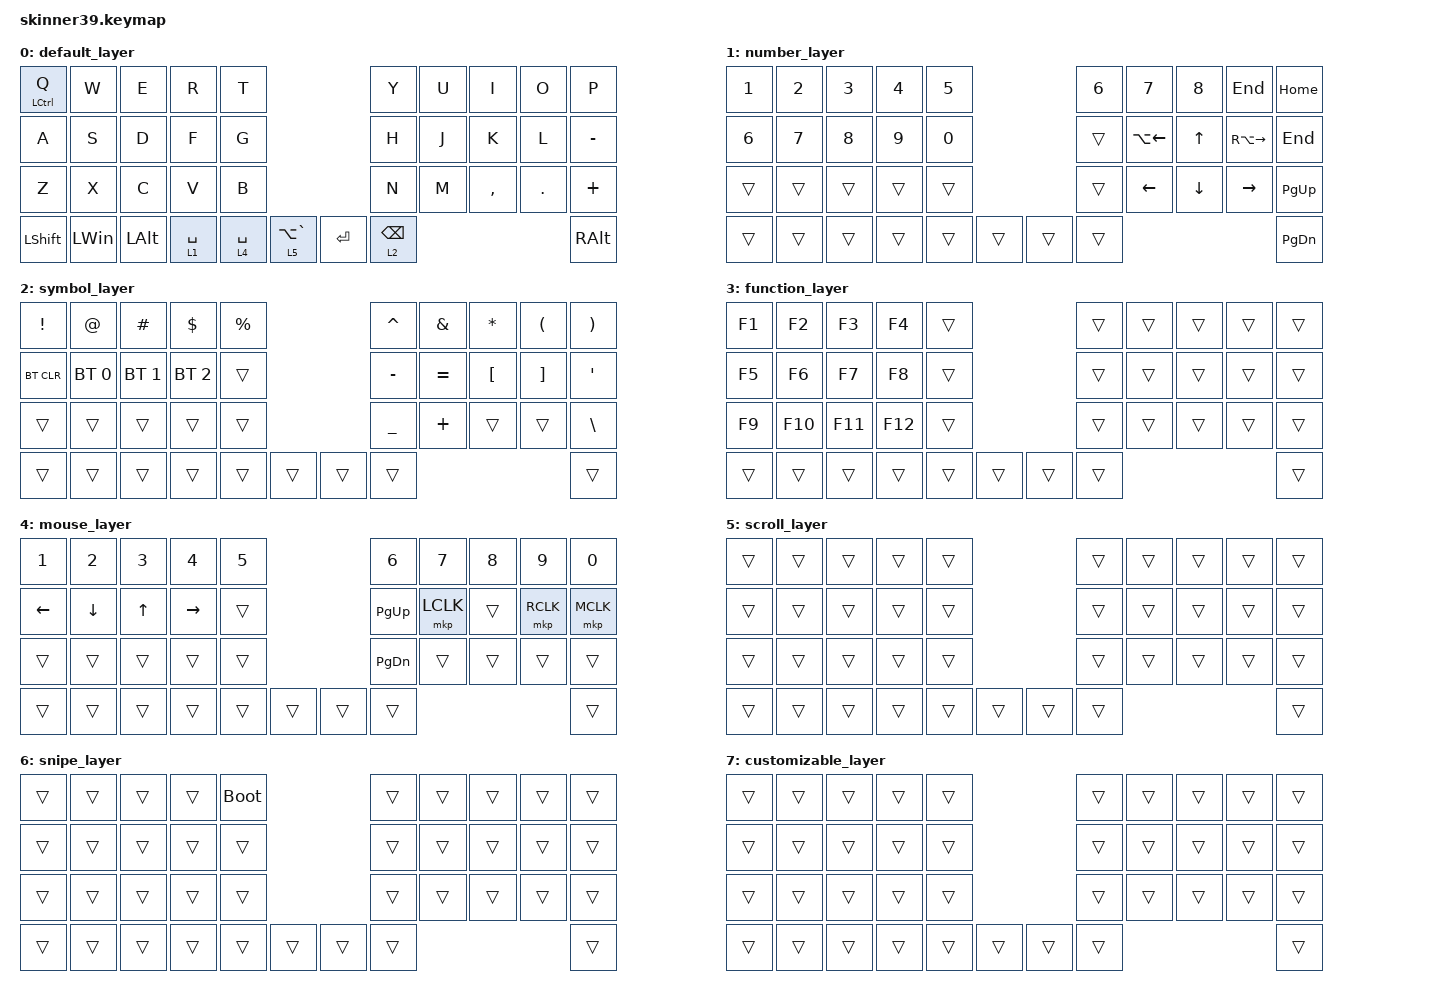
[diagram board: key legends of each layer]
#include <behaviors.dtsi>
#include <dt-bindings/zmk/bt.h>
#include <dt-bindings/zmk/keys.h>
#include <dt-bindings/zmk/pointing.h>

/ {
    keymap {
        compatible = "zmk,keymap";

        default_layer {
            bindings = <
  &mt LCTRL Q     &kp W         &kp E         &kp R        &kp T                                    &kp Y            &kp U  &kp I      &kp O       &kp P
  &kp A           &kp S         &kp D         &kp F        &kp G                                    &kp H            &kp J  &kp K      &kp L       &kp MINUS
  &kp Z           &kp X         &kp C         &kp V        &kp B                                    &kp N            &kp M  &kp COMMA  &kp PERIOD  &kp PLUS
  &kp LEFT_SHIFT  &kp LEFT_WIN  &kp LEFT_ALT  &lt 1 SPACE  &lt 4 SPACE  &lt 5 LA(GRAVE)  &kp ENTER  &lt 2 BACKSPACE                                &kp RIGHT_ALT
            >;
        };

        number_layer {
            bindings = <
  &kp NUMBER_1  &kp NUMBER_2  &kp NUMBER_3  &kp NUMBER_4  &kp NUMBER_5                  &kp NUMBER_6  &kp NUMBER_7        &kp NUMBER_8    &kp END              &kp HOME
  &kp NUMBER_6  &kp NUMBER_7  &kp NUMBER_8  &kp NUMBER_9  &kp NUMBER_0                  &trans        &kp LA(LEFT_ARROW)  &kp UP_ARROW    &kp RA(RIGHT_ARROW)  &kp END
  &trans        &trans        &trans        &trans        &trans                        &trans        &kp LEFT_ARROW      &kp DOWN_ARROW  &kp RIGHT_ARROW      &kp PAGE_UP
  &trans        &trans        &trans        &trans        &trans        &trans  &trans  &trans                                                                 &kp PAGE_DOWN
            >;
        };

        symbol_layer {
            bindings = <
  &kp EXCLAMATION  &kp AT_SIGN   &kp HASH      &kp DOLLAR    &kp PERCENT                  &kp CARET       &kp AMPERSAND  &kp ASTERISK      &kp LEFT_PARENTHESIS  &kp RIGHT_PARENTHESIS
  &bt BT_CLR       &bt BT_SEL 0  &bt BT_SEL 1  &bt BT_SEL 2  &trans                       &kp MINUS       &kp EQUAL      &kp LEFT_BRACKET  &kp RIGHT_BRACKET     &kp SQT
  &trans           &trans        &trans        &trans        &trans                       &kp UNDERSCORE  &kp PLUS       &trans            &trans                &kp BACKSLASH
  &trans           &trans        &trans        &trans        &trans       &trans  &trans  &trans                                                                 &trans
            >;
        };

        function_layer {
            bindings = <
  &kp F1  &kp F2   &kp F3   &kp F4   &trans                  &trans  &trans  &trans  &trans  &trans
  &kp F5  &kp F6   &kp F7   &kp F8   &trans                  &trans  &trans  &trans  &trans  &trans
  &kp F9  &kp F10  &kp F11  &kp F12  &trans                  &trans  &trans  &trans  &trans  &trans
  &trans  &trans   &trans   &trans   &trans  &trans  &trans  &trans                          &trans
            >;
        };

        mouse_layer {
            bindings = <
  &kp N1          &kp N2          &kp N3        &kp N4     &kp N5                  &kp N6         &kp N7     &kp N8  &kp N9     &kp N0
  &kp LEFT_ARROW  &kp DOWN_ARROW  &kp UP_ARROW  &kp RIGHT  &trans                  &kp PAGE_UP    &mkp LCLK  &trans  &mkp RCLK  &mkp MCLK
  &trans          &trans          &trans        &trans     &trans                  &kp PAGE_DOWN  &trans     &trans  &trans     &trans
  &trans          &trans          &trans        &trans     &trans  &trans  &trans  &trans                                       &trans
            >;
        };

        scroll_layer {
            bindings = <
  &trans  &trans  &trans  &trans  &trans                  &trans  &trans  &trans  &trans  &trans
  &trans  &trans  &trans  &trans  &trans                  &trans  &trans  &trans  &trans  &trans
  &trans  &trans  &trans  &trans  &trans                  &trans  &trans  &trans  &trans  &trans
  &trans  &trans  &trans  &trans  &trans  &trans  &trans  &trans                          &trans
            >;
        };

        snipe_layer {
            bindings = <
  &trans  &trans  &trans  &trans  &bootloader                  &trans  &trans  &trans  &trans  &trans
  &trans  &trans  &trans  &trans  &trans                       &trans  &trans  &trans  &trans  &trans
  &trans  &trans  &trans  &trans  &trans                       &trans  &trans  &trans  &trans  &trans
  &trans  &trans  &trans  &trans  &trans       &trans  &trans  &trans                          &trans
            >;
        };

        customizable_layer {
            bindings = <
  &trans  &trans  &trans  &trans  &trans                  &trans  &trans  &trans  &trans  &trans
  &trans  &trans  &trans  &trans  &trans                  &trans  &trans  &trans  &trans  &trans
  &trans  &trans  &trans  &trans  &trans                  &trans  &trans  &trans  &trans  &trans
  &trans  &trans  &trans  &trans  &trans  &trans  &trans  &trans                          &trans
            >;
        };
    };
};
